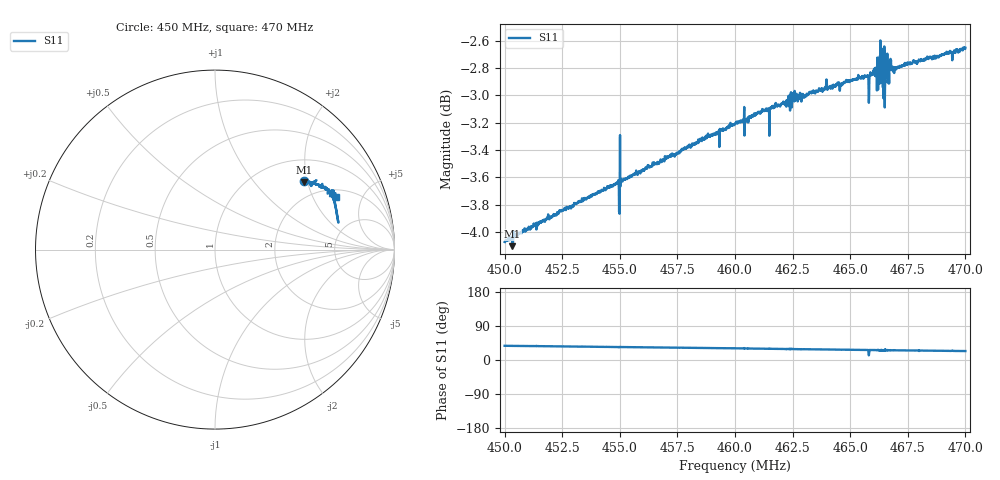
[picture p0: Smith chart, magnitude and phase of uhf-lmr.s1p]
! Calibrated averaged scanner-service zoom
# Hz S RI R 50
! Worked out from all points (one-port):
!   2001 points, 450 MHz to 470 MHz, reference 50 ohm
!   lowest |S11| = -4.1 dB at 450.34 MHz (marker M1), VSWR 4.31, Z = 77.6 + j95.5 ohm
!   |S11| at or under -10 dB: nowhere
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4.5e8  0.4965 0.3808
4.5034e8  0.4976 0.3757
4.525e8  0.5207 0.3767
4.55e8  0.5448 0.375
4.551e8  0.5452 0.3699
4.575e8  0.5684 0.3629
4.6e8  0.5935 0.354
4.6049e8  0.5982 0.3512
4.6221e8  0.6161 0.3359
4.625e8  0.6192 0.3425
4.65e8  0.6388 0.3253
4.6568e8  0.6436 0.3211
4.6569e8  0.644 0.3209
4.6572e8  0.6436 0.3207
4.6573e8  0.6441 0.3212
4.6589e8  0.6457 0.3199
4.659e8  0.6457 0.3201
4.6593e8  0.6458 0.3191
4.6594e8  0.6457 0.3196
4.6618e8  0.6559 0.3221
4.663e8  0.6466 0.3146
4.6635e8  0.6512 0.3113
4.6639e8  0.652 0.3228
4.6644e8  0.6406 0.2973
4.666e8  0.651 0.3128
4.6666e8  0.6438 0.3114
4.675e8  0.6583 0.3106
4.7e8  0.6751 0.2952
